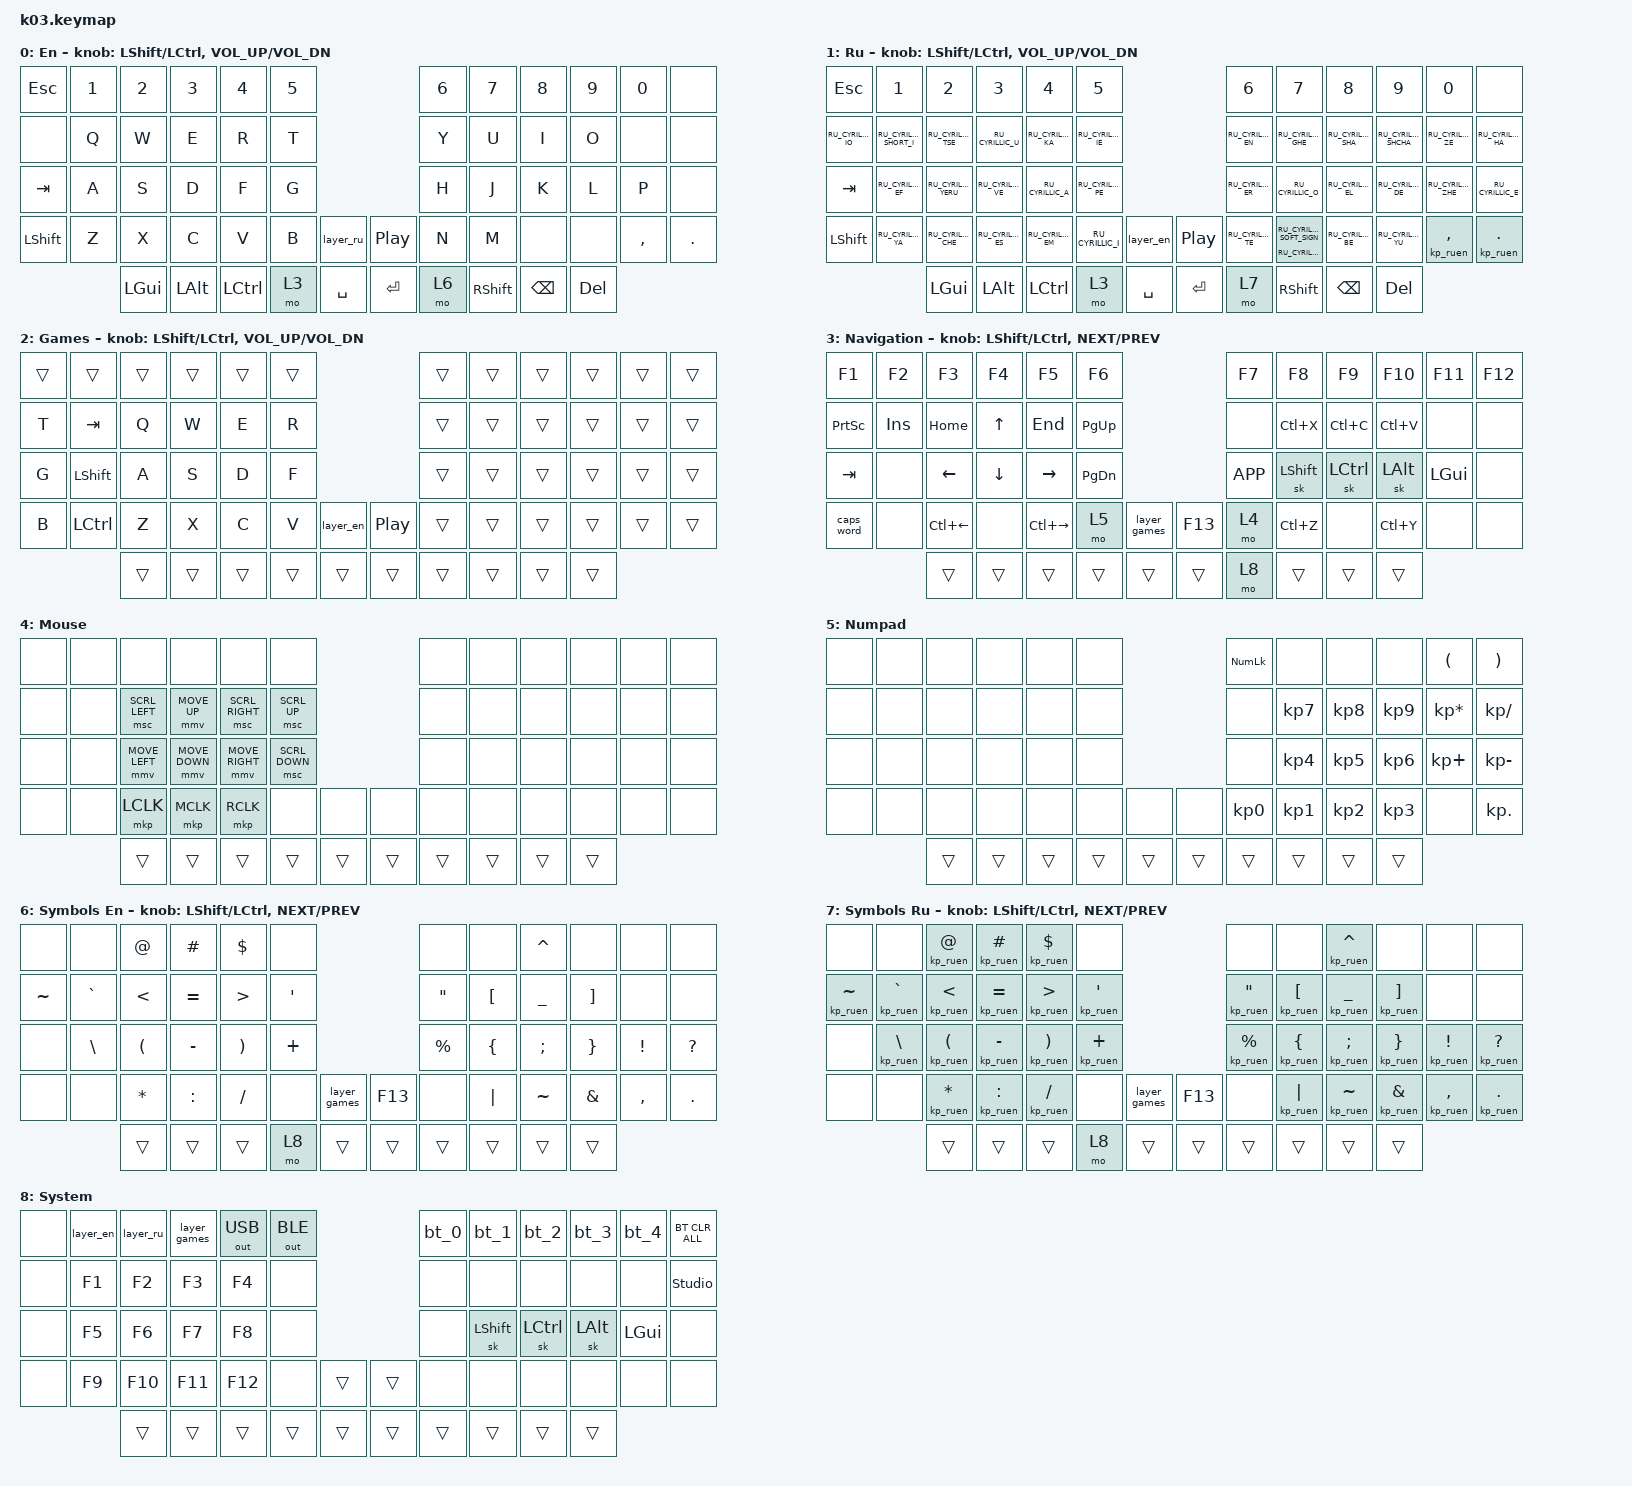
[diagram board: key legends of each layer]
#include "keys_ru.h"
#include <behaviors.dtsi>
#include <dt-bindings/zmk/bt.h>
#include <dt-bindings/zmk/keys.h>
#include <dt-bindings/zmk/outputs.h>
#include <dt-bindings/zmk/pointing.h>

/ {
    combos {
        compatible = "zmk,combos";

        cmb_caps {
            bindings = <&kp CAPS>;
            key-positions = <36 57>;
            layers = <0 1>;
            timeout-ms = <100>;
        };

        cmb_notif_en {
            bindings = <&sc_notif_en>;
            key-positions = <0 53 56>;
            layers = <0>;
            timeout-ms = <250>;
        };

        cmb_notif_ru {
            bindings = <&sc_notif_ru>;
            key-positions = <0 53 56>;
            layers = <1>;
            timeout-ms = <250>;
        };

        cmb_notif_games {
            bindings = <&sc_notif_games>;
            key-positions = <0 53 56>;
            layers = <2>;
            timeout-ms = <250>;
        };
    };

    macros {
        sc_lang_en: sc_lang_en {
            compatible = "zmk,behavior-macro";
            #binding-cells = <0>;
            bindings = <&kp LS(LC(N1))>;
            label = "SC_LANG_EN";
            wait-ms = <0>;
        };

        sc_lang_ru: sc_lang_ru {
            compatible = "zmk,behavior-macro";
            #binding-cells = <0>;
            bindings = <&kp LS(LC(N2))>;
            label = "SC_LANG_RU";
            wait-ms = <0>;
        };

        sc_lang_ga: sc_lang_ga {
            compatible = "zmk,behavior-macro";
            #binding-cells = <0>;
            bindings = <&kp LS(LC(N3))>;
            label = "SC_LANG_GA";
            wait-ms = <0>;
        };

        sc_notif_en: sc_notif_en {
            compatible = "zmk,behavior-macro";
            #binding-cells = <0>;
            bindings = <&kp F24>;
            label = "SC_NOTIF_EN";
        };

        sc_notif_ru: sc_notif_ru {
            compatible = "zmk,behavior-macro";
            #binding-cells = <0>;
            bindings = <&kp F23>;
            label = "SC_NOTIF_RU";
        };

        sc_notif_games: sc_notif_games {
            compatible = "zmk,behavior-macro";
            #binding-cells = <0>;
            bindings = <&kp F22>;
            label = "SC_NOTIF_GAMES";
        };

        layer_en: layer_en {
            compatible = "zmk,behavior-macro";
            #binding-cells = <0>;
            bindings =
                <&to 0>,
                <&macro_wait_time 30>,
                <&sc_lang_en &sc_notif_en>;

            label = "LAYER_EN";
        };

        layer_ru: layer_ru {
            compatible = "zmk,behavior-macro";
            #binding-cells = <0>;
            bindings =
                <&to 1>,
                <&macro_wait_time 30>,
                <&sc_lang_ru &sc_notif_ru>;

            label = "LAYER_RU";
        };

        layer_games: layer_games {
            compatible = "zmk,behavior-macro";
            #binding-cells = <0>;
            bindings =
                <&to 2>,
                <&macro_wait_time 30>,
                <&sc_lang_en &sc_lang_ga &sc_notif_games>;

            label = "LAYER_GAMES";
        };

        kp_ruen: kp_ruen {
            compatible = "zmk,behavior-macro-one-param";
            #binding-cells = <1>;
            bindings =
                <&sc_lang_en>,
                <&macro_press>,
                <&macro_param_1to1 &kp MACRO_PLACEHOLDER>,
                <&macro_pause_for_release>,
                <&macro_release>,
                <&macro_param_1to1 &kp MACRO_PLACEHOLDER>,
                <&macro_tap>,
                <&sc_lang_ru>;

            label = "KP_RUEN";
            tap-ms = <5>;
        };

        bt_0: bt_0 {
            compatible = "zmk,behavior-macro";
            #binding-cells = <0>;
            bindings = <&bt BT_SEL 0>, <&macro_wait_time 500>, <&layer_en>;

            label = "BT_0";
        };

        bt_1: bt_1 {
            compatible = "zmk,behavior-macro";
            #binding-cells = <0>;
            bindings = <&bt BT_SEL 1>, <&macro_wait_time 500>, <&layer_en>;

            label = "BT_1";
        };

        bt_2: bt_2 {
            compatible = "zmk,behavior-macro";
            #binding-cells = <0>;
            bindings = <&bt BT_SEL 2>, <&macro_wait_time 500>, <&layer_en>;

            label = "BT_2";
        };

        bt_3: bt_3 {
            compatible = "zmk,behavior-macro";
            #binding-cells = <0>;
            bindings = <&bt BT_SEL 3>, <&macro_wait_time 500>, <&layer_en>;

            label = "BT_3";
        };

        bt_4: bt_4 {
            compatible = "zmk,behavior-macro";
            #binding-cells = <0>;
            bindings = <&bt BT_SEL 4>, <&macro_wait_time 500>, <&layer_en>;

            label = "BT_4";
        };
    };

    keymap {
        compatible = "zmk,keymap";

        en {
            bindings = <
&kp ESC    &kp N1  &kp N2    &kp N3    &kp N4     &kp N5                                 &kp N6  &kp N7           &kp N8         &kp N9      &kp N0     &none
&none      &kp Q   &kp W     &kp E     &kp R      &kp T                                  &kp Y   &kp U            &kp I          &kp O       &none      &none
&kp TAB    &kp A   &kp S     &kp D     &kp F      &kp G                                  &kp H   &kp J            &kp K          &kp L       &kp P      &none
&kp LSHFT  &kp Z   &kp X     &kp C     &kp V      &kp B   &layer_ru    &kp C_PLAY_PAUSE  &kp N   &kp M            &none          &none       &kp COMMA  &kp DOT
                   &kp LGUI  &kp LALT  &kp LCTRL  &mo 3   &kp SPACE    &kp ENTER         &mo 6   &kp RIGHT_SHIFT  &kp BACKSPACE  &kp DELETE
            >;

            display-name = "En";
            sensor-bindings =
                <&inc_dec_kp LEFT_SHIFT LCTRL>,
                <&inc_dec_kp C_VOL_UP C_VOL_DN>;
        };

        ru {
            display-name = "Ru";
            bindings = <
&kp ESC             &kp N1                   &kp N2                &kp N3              &kp N4              &kp N5                                             &kp N6              &kp N7                                           &kp N8               &kp N9                 &kp N0               &none
&kp RU_CYRILLIC_IO  &kp RU_CYRILLIC_SHORT_I  &kp RU_CYRILLIC_TSE   &kp RU_CYRILLIC_U   &kp RU_CYRILLIC_KA  &kp RU_CYRILLIC_IE                                 &kp RU_CYRILLIC_EN  &kp RU_CYRILLIC_GHE                              &kp RU_CYRILLIC_SHA  &kp RU_CYRILLIC_SHCHA  &kp RU_CYRILLIC_ZE   &kp RU_CYRILLIC_HA
&kp TAB             &kp RU_CYRILLIC_EF       &kp RU_CYRILLIC_YERU  &kp RU_CYRILLIC_VE  &kp RU_CYRILLIC_A   &kp RU_CYRILLIC_PE                                 &kp RU_CYRILLIC_ER  &kp RU_CYRILLIC_O                                &kp RU_CYRILLIC_EL   &kp RU_CYRILLIC_DE     &kp RU_CYRILLIC_ZHE  &kp RU_CYRILLIC_E
&kp LSHFT           &kp RU_CYRILLIC_YA       &kp RU_CYRILLIC_CHE   &kp RU_CYRILLIC_ES  &kp RU_CYRILLIC_EM  &kp RU_CYRILLIC_I   &layer_en    &kp C_PLAY_PAUSE  &kp RU_CYRILLIC_TE  &mt RU_CYRILLIC_HARD_SIGN RU_CYRILLIC_SOFT_SIGN  &kp RU_CYRILLIC_BE   &kp RU_CYRILLIC_YU     &kp_ruen COMMA       &kp_ruen DOT
                                             &kp LGUI              &kp LALT            &kp LCTRL           &mo 3               &kp SPACE    &kp ENTER         &mo 7               &kp RIGHT_SHIFT                                  &kp BACKSPACE        &kp DELETE
            >;

            sensor-bindings =
                <&inc_dec_kp LEFT_SHIFT LCTRL>,
                <&inc_dec_kp C_VOL_UP C_VOL_DN>;
        };

        gam {
            label = "Games";
            bindings = <
&trans  &trans          &trans  &trans  &trans  &trans                                 &trans  &trans  &trans  &trans  &trans  &trans
&kp T   &kp TAB         &kp Q   &kp W   &kp E   &kp R                                  &trans  &trans  &trans  &trans  &trans  &trans
&kp G   &kp LEFT_SHIFT  &kp A   &kp S   &kp D   &kp F                                  &trans  &trans  &trans  &trans  &trans  &trans
&kp B   &kp LCTRL       &kp Z   &kp X   &kp C   &kp V   &layer_en    &kp C_PLAY_PAUSE  &trans  &trans  &trans  &trans  &trans  &trans
                        &trans  &trans  &trans  &trans  &trans       &trans            &trans  &trans  &trans  &trans
            >;

            sensor-bindings =
                <&inc_dec_kp LEFT_SHIFT LCTRL>,
                <&inc_dec_kp C_VOL_UP C_VOL_DN>;
        };

        nav {
            bindings = <
&kp F1           &kp F2      &kp F3        &kp F4    &kp F5         &kp F6                                  &kp F7     &kp F8          &kp F9     &kp F10       &kp F11       &kp F12
&kp PRINTSCREEN  &kp INSERT  &kp HOME      &kp UP    &kp END        &kp PG_UP                               &none      &kp LC(X)       &kp LC(C)  &kp LC(V)     &none         &none
&kp TAB          &none       &kp LEFT      &kp DOWN  &kp RIGHT      &kp PAGE_DOWN                           &kp K_APP  &sk LEFT_SHIFT  &sk LCTRL  &sk LEFT_ALT  &kp LEFT_GUI  &none
&caps_word       &none       &kp LC(LEFT)  &none     &kp LC(RIGHT)  &mo 5          &layer_games    &kp F13  &mo 4      &kp LC(Z)       &none      &kp LC(Y)     &none         &none
                             &trans        &trans    &trans         &trans         &trans          &trans   &mo 8      &trans          &trans     &trans
            >;

            display-name = "Navigation";
            sensor-bindings =
                <&inc_dec_kp LEFT_SHIFT LCTRL>,
                <&inc_dec_kp C_NEXT C_PREV>;
        };

        mouse {
            bindings = <
&none  &none  &none           &none           &none            &none                             &none   &none   &none   &none   &none  &none
&none  &none  &msc SCRL_LEFT  &mmv MOVE_UP    &msc SCRL_RIGHT  &msc SCRL_UP                      &none   &none   &none   &none   &none  &none
&none  &none  &mmv MOVE_LEFT  &mmv MOVE_DOWN  &mmv MOVE_RIGHT  &msc SCRL_DOWN                    &none   &none   &none   &none   &none  &none
&none  &none  &mkp LCLK       &mkp MCLK       &mkp RCLK        &none           &none     &none   &none   &none   &none   &none   &none  &none
              &trans          &trans          &trans           &trans          &trans    &trans  &trans  &trans  &trans  &trans
            >;

            label = "Mouse";
        };

        num {
            bindings = <
&none  &none  &none   &none   &none   &none                     &kp KP_NUMLOCK  &none      &none      &none      &kp LPAR         &kp RPAR
&none  &none  &none   &none   &none   &none                     &none           &kp KP_N7  &kp KP_N8  &kp KP_N9  &kp KP_MULTIPLY  &kp KP_DIVIDE
&none  &none  &none   &none   &none   &none                     &none           &kp KP_N4  &kp KP_N5  &kp KP_N6  &kp KP_PLUS      &kp KP_MINUS
&none  &none  &none   &none   &none   &none   &none     &none   &kp KP_N0       &kp KP_N1  &kp KP_N2  &kp KP_N3  &none            &kp KP_DOT
              &trans  &trans  &trans  &trans  &trans    &trans  &trans          &trans     &trans     &trans
            >;

            label = "Numpad";
        };

        sym_en {
            display-name = "Symbols En";
            bindings = <
&none      &none      &kp AT    &kp HASH   &kp DLLR  &none                              &none              &none     &kp CARET  &none     &none      &none
&kp TILDE  &kp GRAVE  &kp LT    &kp EQUAL  &kp GT    &kp SQT                            &kp DOUBLE_QUOTES  &kp LBKT  &kp UNDER  &kp RBKT  &none      &none
&none      &kp BSLH   &kp LPAR  &kp MINUS  &kp RPAR  &kp PLUS                           &kp PRCNT          &kp LBRC  &kp SEMI   &kp RBRC  &kp EXCL   &kp QUESTION
&none      &none      &kp STAR  &kp COLON  &kp FSLH  &none     &layer_games    &kp F13  &none              &kp PIPE  &kp TILDE  &kp AMPS  &kp COMMA  &kp DOT
                      &trans    &trans     &trans    &mo 8     &trans          &trans   &trans             &trans    &trans     &trans
            >;

            sensor-bindings =
                <&inc_dec_kp LEFT_SHIFT LCTRL>,
                <&inc_dec_kp C_NEXT C_PREV>;
        };

        sym_ru {
            display-name = "Symbols Ru";
            bindings = <
&none           &none           &kp_ruen AT    &kp_ruen HASH   &kp_ruen DLLR  &none                                   &none                   &none          &kp_ruen CARET  &none          &none           &none
&kp_ruen TILDE  &kp_ruen GRAVE  &kp_ruen LT    &kp_ruen EQUAL  &kp_ruen GT    &kp_ruen SQT                            &kp_ruen DOUBLE_QUOTES  &kp_ruen LBKT  &kp_ruen UNDER  &kp_ruen RBKT  &none           &none
&none           &kp_ruen BSLH   &kp_ruen LPAR  &kp_ruen MINUS  &kp_ruen RPAR  &kp_ruen PLUS                           &kp_ruen PRCNT          &kp_ruen LBRC  &kp_ruen SEMI   &kp_ruen RBRC  &kp_ruen EXCL   &kp_ruen QUESTION
&none           &none           &kp_ruen STAR  &kp_ruen COLON  &kp_ruen FSLH  &none          &layer_games    &kp F13  &none                   &kp_ruen PIPE  &kp_ruen TILDE  &kp_ruen AMPS  &kp_ruen COMMA  &kp_ruen DOT
                                &trans         &trans          &trans         &mo 8          &trans          &trans   &trans                  &trans         &trans          &trans
            >;

            sensor-bindings =
                <&inc_dec_kp LEFT_SHIFT LCTRL>,
                <&inc_dec_kp C_NEXT C_PREV>;
        };

        sys {
            bindings = <
&none  &layer_en  &layer_ru  &layer_games  &out OUT_USB  &out OUT_BLE                    &bt_0   &bt_1           &bt_2      &bt_3         &bt_4         &bt BT_CLR_ALL
&none  &kp F1     &kp F2     &kp F3        &kp F4        &none                           &none   &none           &none      &none         &none         &studio_unlock
&none  &kp F5     &kp F6     &kp F7        &kp F8        &none                           &none   &sk LEFT_SHIFT  &sk LCTRL  &sk LEFT_ALT  &kp LEFT_GUI  &none
&none  &kp F9     &kp F10    &kp F11       &kp F12       &none         &trans    &trans  &none   &none           &none      &none         &none         &none
                  &trans     &trans        &trans        &trans        &trans    &trans  &trans  &trans          &trans     &trans
            >;

            display-name = "System";
        };
    };

    conditional_layers { compatible = "zmk,conditional-layers"; };
};
